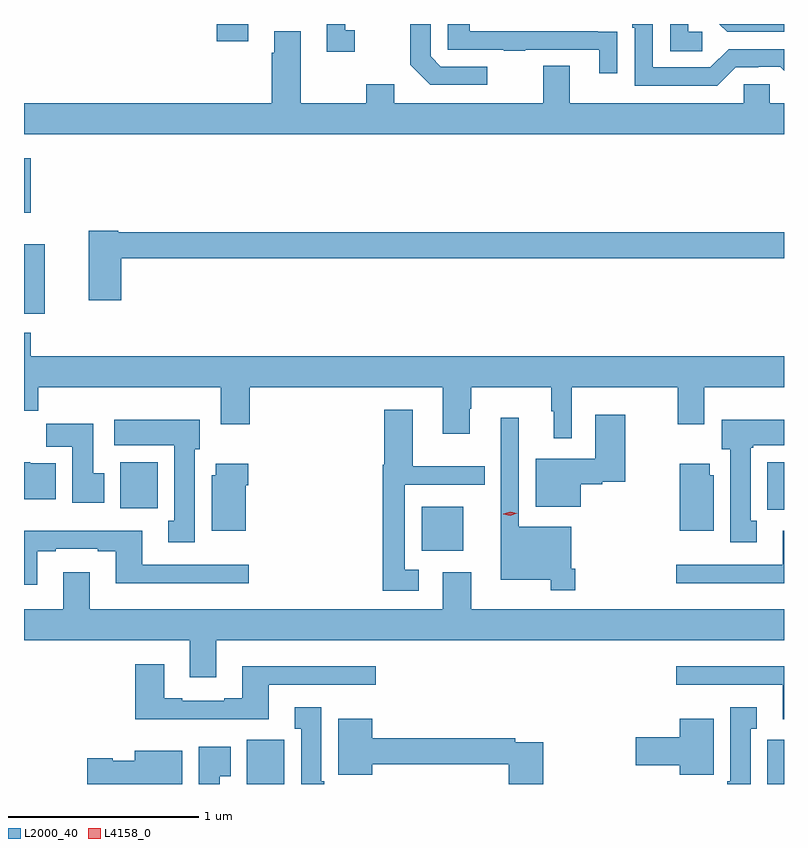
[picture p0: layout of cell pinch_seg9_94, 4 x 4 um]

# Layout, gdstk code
import gdstk
lib = gdstk.Library(unit=1e-6, precision=1e-09)
def R(c, l, rs):  # rectangles x0, y0, x1, y1
    for r in rs: c.add(gdstk.rectangle(r[:2], r[2:], *l))
def P(c, l, *ps):  # polygons
    for p in ps: c.add(gdstk.Polygon(p, *l))
L2000_40 = (2000, 40)
L4158_0 = (4158, 0)

pinch_seg9_94 = lib.new_cell('pinch_seg9_94')
R(pinch_seg9_94, L2000_40, [(1107.899,1166.36,1108.095,1166.593), (1110.639,1166.36,1110.726,1166.592), (1108.82,1167.587,1109.038,1167.82), (1110.639,1167.804,1110.726,1168.054), (1107.233,1167.812,1107.43,1168.054), (1106.726,1168.836,1106.836,1169.2), (1106.726,1169.366,1106.762,1169.653), (1107.74,1170.27,1107.907,1170.36)])
P(pinch_seg9_94, L2000_40, [(1110.295,1170.318),(1110.222,1170.318),(1110.222,1170.36),(1110.126,1170.36),(1110.126,1170.217),(1110.295,1170.217)],
  [(1108.468,1170.326),(1108.416,1170.326),(1108.416,1170.36),(1108.319,1170.36),(1108.319,1170.213),(1108.468,1170.213)],
  [(1110.471,1170.132),(1110.59,1170.132),(1110.59,1170.135),(1110.705,1170.135),(1110.726,1170.114),(1110.726,1170.228),(1110.435,1170.228),(1110.339,1170.132),(1110.036,1170.132),(1110.036,1170.36),(1109.927,1170.36),(1109.927,1170.341),(1109.94,1170.341),(1109.94,1170.036),(1110.375,1170.036)],
  [(1110.726,1170.36),(1110.386,1170.36),(1110.428,1170.318),(1110.726,1170.318)],
  [(1109.164,1170.135),(1108.92,1170.135),(1108.866,1170.189),(1108.866,1170.36),(1108.758,1170.36),(1108.758,1170.145),(1108.863,1170.039),(1109.164,1170.039)],
  [(1109.849,1170.32),(1109.747,1170.32),(1109.747,1170.321),(1109.072,1170.321),(1109.072,1170.36),(1108.956,1170.36),(1108.956,1170.225),(1109.251,1170.225),(1109.251,1170.22),(1109.363,1170.22),(1109.363,1170.225),(1109.753,1170.225),(1109.753,1170.102),(1109.849,1170.102)],
  [(1110.726,1169.944),(1110.651,1169.944),(1110.651,1170.042),(1110.513,1170.042),(1110.513,1169.944),(1109.599,1169.944),(1109.599,1170.139),(1109.459,1170.139),(1109.459,1169.944),(1108.675,1169.944),(1108.675,1170.043),(1108.528,1170.043),(1108.528,1169.944),(1108.183,1169.944),(1108.183,1170.322),(1108.043,1170.322),(1108.043,1170.209),(1108.031,1170.209),(1108.031,1169.944),(1106.726,1169.944),(1106.726,1169.78),(1110.726,1169.78)],
  [(1107.239,1169.128),(1110.726,1169.128),(1110.726,1169.264),(1107.222,1169.264),(1107.222,1169.272),(1107.068,1169.272),(1107.068,1168.905),(1107.239,1168.905)],
  [(1109.61,1168.448),(1110.167,1168.448),(1110.167,1168.254),(1110.307,1168.254),(1110.307,1168.448),(1110.726,1168.448),(1110.726,1168.612),(1106.762,1168.612),(1106.762,1168.736),(1106.726,1168.736),(1106.726,1168.324),(1106.801,1168.324),(1106.801,1168.448),(1107.761,1168.448),(1107.761,1168.254),(1107.914,1168.254),(1107.914,1168.448),(1108.931,1168.448),(1108.931,1168.203),(1109.071,1168.203),(1109.071,1168.334),(1109.079,1168.334),(1109.079,1168.448),(1109.502,1168.448),(1109.502,1168.322),(1109.513,1168.322),(1109.513,1168.179),(1109.61,1168.179)],
  [(1108.804,1167.487),(1108.731,1167.487),(1108.731,1167.936),(1109.15,1167.936),(1109.15,1168.033),(1108.771,1168.033),(1108.771,1168.33),(1108.622,1168.33),(1108.622,1168.039),(1108.615,1168.039),(1108.615,1167.378),(1108.804,1167.378)],
  [(1109.656,1167.938),(1109.769,1167.938),(1109.769,1167.95),(1109.89,1167.95),(1109.89,1168.303),(1109.732,1168.303),(1109.732,1168.072),(1109.42,1168.072),(1109.42,1167.818),(1109.656,1167.818)],
  [(1109.627,1167.493),(1109.607,1167.493),(1109.607,1167.715),(1109.331,1167.715),(1109.331,1168.288),(1109.235,1168.288),(1109.235,1167.811),(1109.234,1167.811),(1109.234,1167.434),(1109.499,1167.434),(1109.499,1167.381),(1109.627,1167.381)],
  [(1107.625,1168.122),(1107.652,1168.122),(1107.652,1168.276),(1107.201,1168.276),(1107.201,1168.142),(1107.518,1168.142),(1107.518,1167.746),(1107.485,1167.746),(1107.485,1167.633),(1107.625,1167.633)],
  [(1110.583,1167.745),(1110.55,1167.745),(1110.55,1168.129),(1110.564,1168.129),(1110.564,1168.142),(1110.726,1168.142),(1110.726,1168.276),(1110.398,1168.276),(1110.398,1168.122),(1110.443,1168.122),(1110.443,1167.633),(1110.583,1167.633)],
  [(1107.148,1167.996),(1107.091,1167.996),(1107.091,1168.255),(1106.842,1168.255),(1106.842,1168.136),(1106.981,1168.136),(1106.981,1167.84),(1107.148,1167.84)],
  [(1106.893,1168.048),(1106.76,1168.048),(1106.76,1168.054),(1106.726,1168.054),(1106.726,1167.86),(1106.893,1167.86)],
  [(1110.355,1167.984),(1110.334,1167.984),(1110.334,1168.045),(1110.176,1168.045),(1110.176,1167.692),(1110.355,1167.692)],
  [(1107.892,1167.932),(1107.905,1167.932),(1107.905,1168.045),(1107.734,1168.045),(1107.734,1167.984),(1107.713,1167.984),(1107.713,1167.692),(1107.892,1167.692)],
  [(1106.797,1167.585),(1106.893,1167.585),(1106.893,1167.597),(1107.113,1167.597),(1107.113,1167.585),(1107.209,1167.585),(1107.209,1167.416),(1107.91,1167.416),(1107.91,1167.513),(1107.349,1167.513),(1107.349,1167.694),(1106.726,1167.694),(1106.726,1167.408),(1106.797,1167.408)],
  [(1110.726,1167.694),(1110.719,1167.694),(1110.719,1167.513),(1110.159,1167.513),(1110.159,1167.416),(1110.726,1167.416)],
  [(1107.739,1167.116),(1110.726,1167.116),(1110.726,1167.28),(1109.08,1167.28),(1109.08,1167.475),(1108.931,1167.475),(1108.931,1167.28),(1107.073,1167.28),(1107.073,1167.475),(1106.933,1167.475),(1106.933,1167.28),(1106.726,1167.28),(1106.726,1167.116),(1107.599,1167.116),(1107.599,1166.922),(1107.739,1166.922)],
  [(1108.015,1166.883),(1108.576,1166.883),(1108.576,1166.98),(1107.875,1166.98),(1107.875,1166.812),(1107.779,1166.812),(1107.779,1166.799),(1107.559,1166.799),(1107.559,1166.812),(1107.463,1166.812),(1107.463,1166.989),(1107.311,1166.989),(1107.311,1166.702),(1108.015,1166.702)],
  [(1110.726,1166.98),(1110.159,1166.98),(1110.159,1166.883),(1110.719,1166.883),(1110.719,1166.702),(1110.726,1166.702)],
  [(1110.55,1166.651),(1110.583,1166.651),(1110.583,1166.764),(1110.443,1166.764),(1110.443,1166.374),(1110.428,1166.374),(1110.428,1166.36),(1110.55,1166.36)],
  [(1108.306,1166.374),(1108.291,1166.374),(1108.291,1166.764),(1108.151,1166.764),(1108.151,1166.651),(1108.184,1166.651),(1108.184,1166.36),(1108.306,1166.36)],
  [(1109.459,1166.58),(1109.312,1166.58),(1109.312,1166.6),(1108.558,1166.6),(1108.558,1166.704),(1108.379,1166.704),(1108.379,1166.408),(1108.558,1166.408),(1108.558,1166.464),(1109.276,1166.464),(1109.276,1166.36),(1109.459,1166.36)],
  [(1110.355,1166.704),(1110.176,1166.704),(1110.176,1166.606),(1109.946,1166.606),(1109.946,1166.459),(1110.176,1166.459),(1110.176,1166.408),(1110.355,1166.408)],
  [(1107.757,1166.401),(1107.814,1166.401),(1107.814,1166.557),(1107.647,1166.557),(1107.647,1166.36),(1107.757,1166.36)],
  [(1107.559,1166.536),(1107.308,1166.536),(1107.308,1166.482),(1107.192,1166.482),(1107.192,1166.495),(1107.06,1166.495),(1107.06,1166.36),(1107.559,1166.36)])
P(pinch_seg9_94, L4158_0, [(1109.285,1167.773),(1109.249,1167.781),(1109.249,1167.782),(1109.249,1167.782),(1109.285,1167.793),(1109.321,1167.784),(1109.321,1167.784),(1109.321,1167.784)])

lib.write_gds('pinch_seg9_94.gds')
